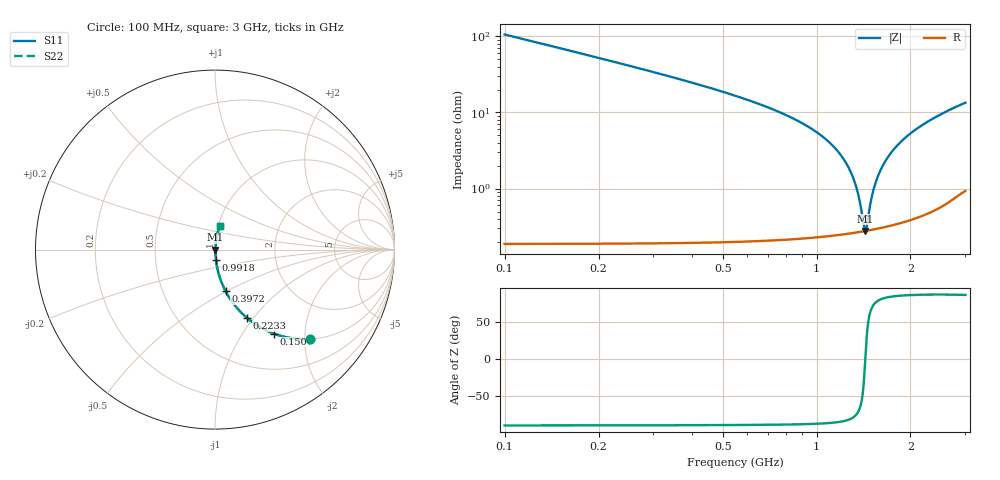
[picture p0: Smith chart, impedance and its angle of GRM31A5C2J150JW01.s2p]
!Murata Part Number: GRM31A5C2J150JW01
!These Parameters are Measured in Series Mode Connection
!Data Generated on Mar 30, 2021
!  o--ll--o
!Port1  Port2
!  o------o
!Operation Temp=25[degC], DC Bias Voltage=0[V]
!Freq. Start=100[MHz] Stop=3[GHz] 401[Steps]
# Hz S RI R 50
!Freq.(Hz) S11(Real) S11(Imag) S21(Real) S21(Imag) S12(Real) S12(Imag) S22(Real) S22(Imag)
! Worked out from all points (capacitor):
!   401 points, 100 MHz to 3 GHz, reference 50 ohm
!   read as one part in series: C = 15 pF near 114.5 MHz
!   lowest |Z| = 277 mohm at 1.434 GHz (marker M1)
!   series resonance near 1.433 GHz, so ESL is about 820 pH
!   S11 on the Smith chart (normalised r, x): 100 MHz: 1.00, -2.11; 150.8 MHz: 1.00, -1.39; 223.2 MHz: 1.00, -0.93; 397.2 MHz: 1.00, -0.49; 991.8 MHz: 1.00, -0.11; 3 GHz: 1.02, +0.27
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1e8  0.5272 -0.4984  0.4728 0.4984  0.4728 0.4984  0.5272 -0.4984
1.5075e8  0.3269 -0.4677  0.6731 0.4677  0.6731 0.4677  0.3269 -0.4677
2.2325e8  0.1782 -0.3806  0.8218 0.3806  0.8218 0.3806  0.1782 -0.3806
2.9575e8  0.1071 -0.3064  0.8929 0.3064  0.8929 0.3064  0.1071 -0.3064
3.9725e8  0.0591 -0.232  0.9409 0.232  0.9409 0.232  0.0591 -0.232
5.8575e8  0.0243 -0.1475  0.9757 0.1475  0.9757 0.1475  0.0243 -0.1475
9.9175e8  0.00543 -0.056  0.9946 0.056  0.9946 0.056  0.00543 -0.056
1.0715e9  0.00429 -0.044  0.9957 0.044  0.9957 0.044  0.00429 -0.044
1.202e9  0.00318 -0.0265  0.9968 0.0265  0.9968 0.0265  0.00318 -0.0265
1.29625e9  0.00282 -0.0151  0.9972 0.0151  0.9972 0.0151  0.00282 -0.0151
1.35425e9  0.00273 -0.00855  0.9973 0.00855  0.9973 0.00855  0.00273 -0.00855
1.4195e9  0.00275 -0.00146  0.9973 0.00146  0.9973 0.00146  0.00275 -0.00146
1.434e9  0.00276 7.15e-05  0.9972 -7.15e-05  0.9972 -7.15e-05  0.00276 7.15e-05
1.4485e9  0.00279 0.00159  0.9972 -0.00159  0.9972 -0.00159  0.00279 0.00159
1.5065e9  0.00293 0.00754  0.9971 -0.00754  0.9971 -0.00754  0.00293 0.00754
1.55e9  0.00308 0.0119  0.9969 -0.0119  0.9969 -0.0119  0.00308 0.0119
1.62975e9  0.00345 0.0196  0.9965 -0.0196  0.9965 -0.0196  0.00345 0.0196
1.73125e9  0.00409 0.029  0.9959 -0.029  0.9959 -0.029  0.00409 0.029
1.869e9  0.00523 0.0412  0.9948 -0.0412  0.9948 -0.0412  0.00523 0.0412
2.03575e9  0.00701 0.0553  0.993 -0.0553  0.993 -0.0553  0.00701 0.0553
2.5215e9  0.0147 0.0939  0.9853 -0.0939  0.9853 -0.0939  0.0147 0.0939
3e9  0.0263 0.1291  0.9737 -0.1291  0.9737 -0.1291  0.0263 0.1291
